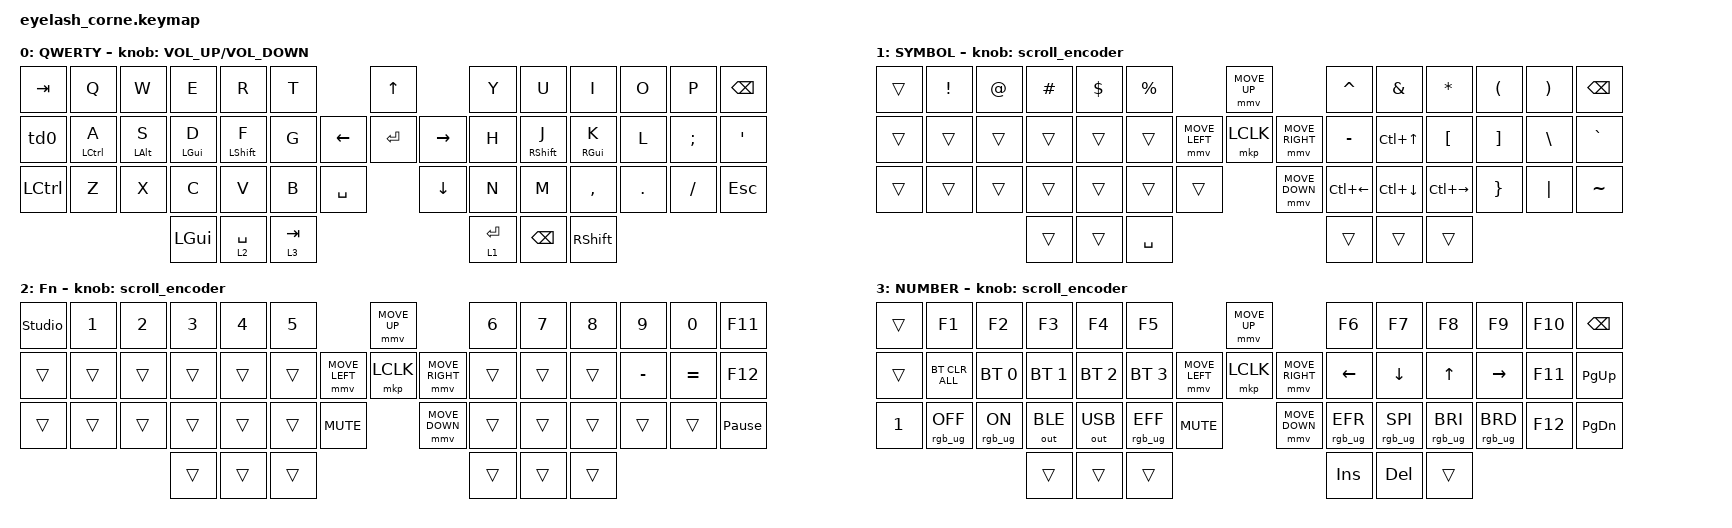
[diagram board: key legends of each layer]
#define ZMK_POINTING_DEFAULT_MOVE_VAL 1200  // 600
#define ZMK_POINTING_DEFAULT_SCRL_VAL 25   // 10

#include <input/processors.dtsi>
#include <zephyr/dt-bindings/input/input-event-codes.h>
#include <behaviors.dtsi>
#include <dt-bindings/zmk/bt.h>
#include <dt-bindings/zmk/keys.h>
#include <dt-bindings/zmk/outputs.h>
#include <dt-bindings/zmk/pointing.h>
#include <dt-bindings/zmk/rgb.h>
&mmv_input_listener { input-processors = <&zip_xy_scaler 2 1>; };

&msc_input_listener { input-processors = <&zip_scroll_scaler 2 1>; };

&msc {
    acceleration-exponent = <1>;      // 0
    time-to-max-speed-ms = <100>;       // 300
    delay-ms = <0>;                   // 0
};

&mmv {
    time-to-max-speed-ms = <500>;
    acceleration-exponent = <1>;
    trigger-period-ms = <16>;
};

/ {
    behaviors {
        td0: td0 {
            compatible = "zmk,behavior-tap-dance";
            display-name = "Shift/Caps Lock Tap Dance";
            #binding-cells = <0>;
            bindings = <&kp LEFT_SHIFT>, <&kp CAPS>;
        };

        lhht: left-hand-hold-tap {
            compatible = "zmk,behavior-hold-tap";
            label = "LEFT_HOLD_TAP";
            bindings = <&kp>, <&kp>;

            #binding-cells = <2>;
            tapping-term-ms = <200>;
            flavor = "tap-preferred";
            quick-tap-ms = <125>;
            global-quick-tap;
            hold-trigger-key-positions = <7 8 9 39 40 41 25 26 27 7 8 9 10 11 12 22 23 24 25 26 27 36 37 38 39 40 41 45 46 47>;
        };

        rhht: rhht {
            compatible = "zmk,behavior-hold-tap";
            label = "RHHT";
            bindings = <&kp>, <&kp>;

            #binding-cells = <2>;
            tapping-term-ms = <200>;
            quick-tap-ms = <125>;
            flavor = "tap-preferred";
            global-quick-tap;
            hold-trigger-key-positions = <13 14 15 16 17 18 28 29 30 31 32 33 34 42 43 44 0 1 2 3 4 5 13 14 15 16 17 18>;
        };
    };

    rgb_encoder: rgb_encoder {
        compatible = "zmk,behavior-sensor-rotate";
        #sensor-binding-cells = <0>;
        bindings = <&rgb_ug RGB_BRI>, <&rgb_ug RGB_BRD>;
    };

    scroll_encoder: scroll_encoder {
        compatible = "zmk,behavior-sensor-rotate";
        #sensor-binding-cells = <0>;
        bindings = <&msc SCRL_DOWN>, <&msc SCRL_UP>;

        tap-ms = <100>;
    };

    combos {
        compatible = "zmk,combos";

        lang_switch {
            bindings = <&kp CAPSLOCK>;
            key-positions = <14 29>;
        };

        kp_bslh {
            bindings = <&kp BACKSLASH>;
            key-positions = <14 1>;
        };

        kp_lbkt {
            bindings = <&kp RIGHT_BRACKET>;
            key-positions = <25 26>;
        };

        kp_apos {
            bindings = <&kp APOS>;
            key-positions = <26 40>;
        };

        kp_rbkt {
            bindings = <&kp LEFT_BRACKET>;
            key-positions = <10 11>;
        };

        esc {
            bindings = <&kp ESCAPE>;
            key-positions = <1 2>;
        };
    };

    keymap {
        compatible = "zmk,keymap";

        default_layer {
            display-name = "QWERTY";
            bindings = <
&kp TAB    &kp Q          &kp W         &kp E         &kp R          &kp T                             &kp UP                &kp Y        &kp U          &kp I         &kp O    &kp P     &kp BSPC
&td0       &lhht LCTRL A  &lhht LALT S  &lhht LGUI D  &lhht LSHFT F  &kp G                   &kp LEFT  &kp ENTER  &kp RIGHT  &kp H        &rhht RSHFT J  &rhht RGUI K  &kp L    &kp SEMI  &kp SQT
&kp LCTRL  &kp Z          &kp X         &kp C         &kp V          &kp B      &kp SPACE              &kp DOWN              &kp N        &kp M          &kp COMMA     &kp DOT  &kp FSLH  &kp ESC
                                        &kp LGUI      &lt 2 SPACE    &lt 3 TAB                                               &lt 1 ENTER  &kp BACKSPACE  &kp RSHFT
            >;

            sensor-bindings = <&inc_dec_kp C_VOLUME_UP C_VOLUME_DOWN>;
        };

        raise_layer {
            display-name = "SYMBOL";
            bindings = <
&trans  &kp EXCL  &kp AT  &kp HASH  &kp DLLR  &kp PRCNT                            &mmv MOVE_UP                     &kp CARET     &kp AMPS          &kp ASTRK      &kp LPAR  &kp RPAR  &kp BSPC
&trans  &trans    &trans  &trans    &trans    &trans               &mmv MOVE_LEFT  &mkp LCLK       &mmv MOVE_RIGHT  &kp MINUS     &kp LC(UP_ARROW)  &kp LBKT       &kp RBKT  &kp BSLH  &kp GRAVE
&trans  &trans    &trans  &trans    &trans    &trans     &trans                    &mmv MOVE_DOWN                   &kp LC(LEFT)  &kp LC(DOWN)      &kp LC(RIGHT)  &kp RBRC  &kp PIPE  &kp TILDE
                          &trans    &trans    &kp SPACE                                                             &trans        &trans            &trans
            >;

            sensor-bindings = <&scroll_encoder>;
        };

        layer_3 {
            display-name = "Fn";
            bindings = <
&studio_unlock  &kp NUMBER_1  &kp NUMBER_2  &kp NUMBER_3  &kp NUMBER_4  &kp N5                                &mmv MOVE_UP                     &kp NUMBER_6  &kp N7  &kp N8  &kp N9     &kp N0     &kp F11
&trans          &trans        &trans        &trans        &trans        &trans                &mmv MOVE_LEFT  &mkp LCLK       &mmv MOVE_RIGHT  &trans        &trans  &trans  &kp MINUS  &kp EQUAL  &kp F12
&trans          &trans        &trans        &trans        &trans        &trans  &kp C_MUTE                    &mmv MOVE_DOWN                   &trans        &trans  &trans  &trans     &trans     &kp PAUSE_BREAK
                                            &trans        &trans        &trans                                                                 &trans        &trans  &trans
            >;

            sensor-bindings = <&scroll_encoder>;
        };

        lower_layer {
            display-name = "NUMBER";
            bindings = <
&trans        &kp F1           &kp F2          &kp F3        &kp F4        &kp F5                                         &mmv MOVE_UP                     &kp F6           &kp F7           &kp F8           &kp F9           &kp F10  &kp BSPC
&trans        &bt BT_CLR_ALL   &bt BT_SEL 0    &bt BT_SEL 1  &bt BT_SEL 2  &bt BT_SEL 3                   &mmv MOVE_LEFT  &mkp LCLK       &mmv MOVE_RIGHT  &kp LEFT         &kp DOWN         &kp UP           &kp RIGHT        &kp F11  &kp PG_UP
&kp NUMBER_1  &rgb_ug RGB_OFF  &rgb_ug RGB_ON  &out OUT_BLE  &out OUT_USB  &rgb_ug RGB_EFF  &kp C_MUTE                    &mmv MOVE_DOWN                   &rgb_ug RGB_EFR  &rgb_ug RGB_SPI  &rgb_ug RGB_BRI  &rgb_ug RGB_BRD  &kp F12  &kp PG_DN
                                               &trans        &trans        &trans                                                                          &kp INS          &kp DEL          &trans
            >;

            sensor-bindings = <&scroll_encoder>;
        };
    };
};
